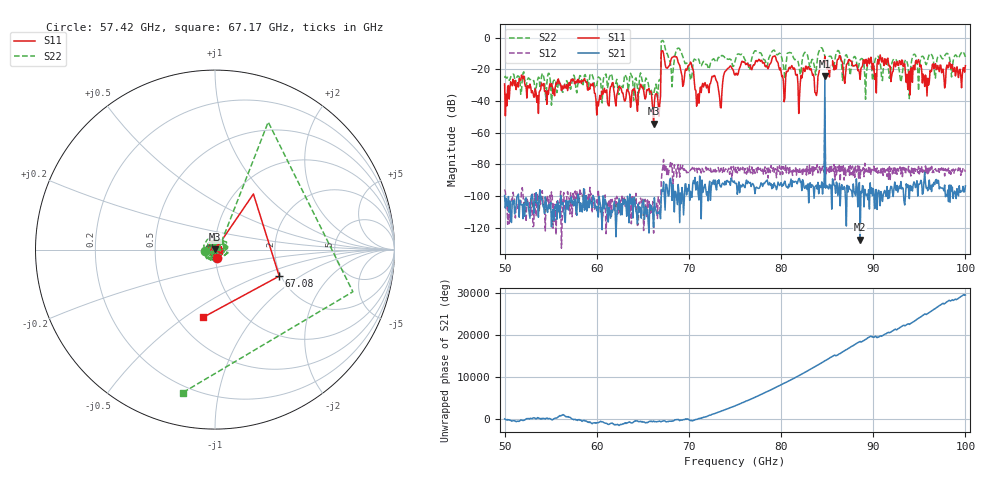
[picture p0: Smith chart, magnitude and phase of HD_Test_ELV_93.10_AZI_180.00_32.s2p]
! 11/25/2026 9:21:52 AM
! C:\ANRITSUVNA\TEMP\TEMP.S2P
! CHANNEL.1
! TR.MEASUREMENT
! RAW.DATA
# HZ S RI R 50.0
! FREQ.HZ  S11RE  S11IM  S21RE  S21IM  S12RE  S12IM  S22RE  S22IM
!; PortSelection: Port_12
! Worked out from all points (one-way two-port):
!   601 points, 50 GHz to 100 GHz, reference 50 ohm
!   highest |S21| = -24.18 dB at 84.75 GHz (marker M1); lowest = -127.7 dB at 88.58 GHz (marker M2)
!   lowest |S11| = -54.3 dB at 66.17 GHz (marker M3), VSWR 1.00, Z = 50.1 + j0.15 ohm
!   |S11| at or under -10 dB: start of sweep to 67 GHz; 67.24 GHz to end of sweep
!   |S22| runs from -42.6 to -1.8 dB; largest |S21 - S12| = 0.062
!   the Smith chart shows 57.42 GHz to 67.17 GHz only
!   S11 on the Smith chart (normalised r, x): 57.42 GHz: 1.02, -0.10; 67.08 GHz: 1.96, -0.68; 67.17 GHz: 0.67, -0.59
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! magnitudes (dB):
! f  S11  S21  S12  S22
! 50 GHz  -29.2  -99.8  -96.0  -25.4
! 57.42 GHz  -26.3  -103.5  -98.5  -25.2
! 58.42 GHz  -27.2  -110.2  -99.3  -29.0
! 60.17 GHz  -43.2  -113.4  -96.1  -24.8
! 61.67 GHz  -28.7  -110.6  -102.2  -24.5
! 66.17 GHz  -54.3  -119.8  -123.5  -35.4
! 66.67 GHz  -42.0  -110.3  -100.6  -32.1
! 67.08 GHz  -8.2  -96.0  -84.5  -1.9
! 67.17 GHz  -8.3  -97.0  -82.2  -1.8
! 70.17 GHz  -15.4  -97.0  -83.7  -25.7
! 70.92 GHz  -40.6  -91.0  -85.3  -13.3
! 75 GHz  -23.7  -92.1  -85.1  -15.0
! 79.25 GHz  -11.8  -91.8  -85.0  -7.9
! 80.25 GHz  -27.5  -93.4  -81.5  -17.6
! 83.42 GHz  -23.8  -93.2  -86.9  -13.7
! 84.75 GHz  -11.8  -24.2  -49.2  -11.7
! 88.58 GHz  -26.4  -127.7  -88.8  -14.0
! 91.67 GHz  -16.7  -96.6  -89.5  -20.4
! 93.75 GHz  -32.7  -92.9  -84.6  -17.3
! 94.83 GHz  -15.0  -100.1  -85.3  -20.3
! 95.83 GHz  -36.9  -94.7  -82.0  -15.9
! 100 GHz  -17.7  -93.7  -84.6  -12.2
